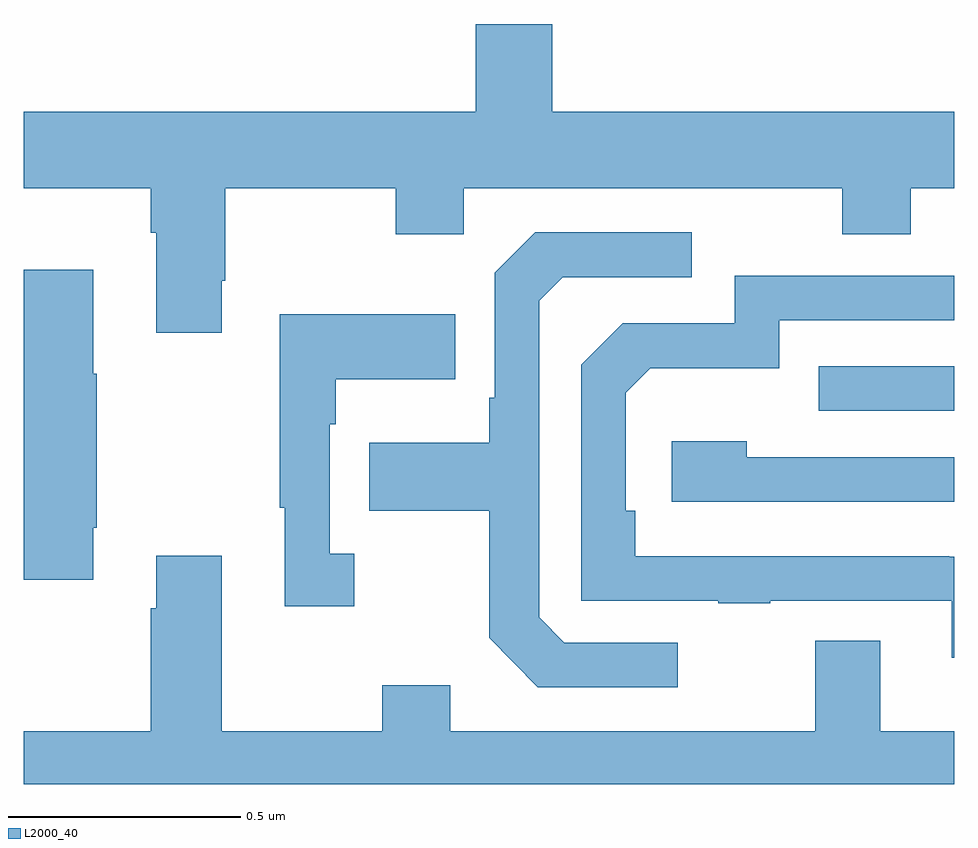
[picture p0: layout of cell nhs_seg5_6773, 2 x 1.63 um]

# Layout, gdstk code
import gdstk
lib = gdstk.Library(unit=1e-6, precision=1e-09)
def R(c, l, rs):  # rectangles x0, y0, x1, y1
    for r in rs: c.add(gdstk.rectangle(r[:2], r[2:], *l))
def P(c, l, *ps):  # polygons
    for p in ps: c.add(gdstk.Polygon(p, *l))
L2000_40 = (2000, 40)

nhs_seg5_6773 = lib.new_cell('nhs_seg5_6773')
R(nhs_seg5_6773, L2000_40, [(201.709,869.601,202,869.697)])
P(nhs_seg5_6773, L2000_40, [(200.425,869.881),(200.433,869.881),(200.433,870.08),(200.8,870.08),(200.8,869.981),(200.946,869.981),(200.946,870.08),(201.76,870.08),(201.76,869.981),(201.907,869.981),(201.907,870.08),(202,870.08),(202,870.244),(201.136,870.244),(201.136,870.433),(200.972,870.433),(200.972,870.244),(200,870.244),(200,870.08),(200.273,870.08),(200.273,869.984),(200.285,869.984),(200.285,869.769),(200.425,869.769)],
  [(201.406,869.103),(201.162,869.103),(201.108,869.157),(201.108,869.838),(201.159,869.889),(201.436,869.889),(201.436,869.985),(201.099,869.985),(201.012,869.898),(201.012,869.629),(201,869.629),(201,869.533),(200.743,869.533),(200.743,869.386),(201,869.386),(201,869.113),(201.105,869.007),(201.406,869.007)],
  [(200.149,869.35),(200.157,869.35),(200.157,869.681),(200.149,869.681),(200.149,869.905),(200,869.905),(200,869.238),(200.149,869.238)],
  [(202,869.288),(201.989,869.288),(201.989,869.289),(201.314,869.289),(201.314,869.386),(201.294,869.386),(201.294,869.64),(201.347,869.693),(201.624,869.693),(201.624,869.796),(202,869.796),(202,869.892),(201.528,869.892),(201.528,869.79),(201.288,869.79),(201.198,869.7),(201.198,869.193),(201.493,869.193),(201.493,869.188),(201.605,869.188),(201.605,869.193),(201.995,869.193),(201.995,869.07),(202,869.07)],
  [(200.71,869.294),(200.658,869.294),(200.658,869.573),(200.671,869.573),(200.671,869.669),(200.927,869.669),(200.927,869.809),(200.55,869.809),(200.55,869.393),(200.561,869.393),(200.561,869.181),(200.71,869.181)],
  [(202,869.502),(201.554,869.502),(201.554,869.536),(201.393,869.536),(201.393,869.406),(202,869.406)],
  [(202,868.912),(201.841,868.912),(201.841,869.107),(201.701,869.107),(201.701,868.912),(200.917,868.912),(200.917,869.011),(200.77,869.011),(200.77,868.912),(200.425,868.912),(200.425,869.29),(200.285,869.29),(200.285,869.177),(200.273,869.177),(200.273,868.912),(200,868.912),(200,868.799),(202,868.799)])

lib.write_gds('nhs_seg5_6773.gds')
